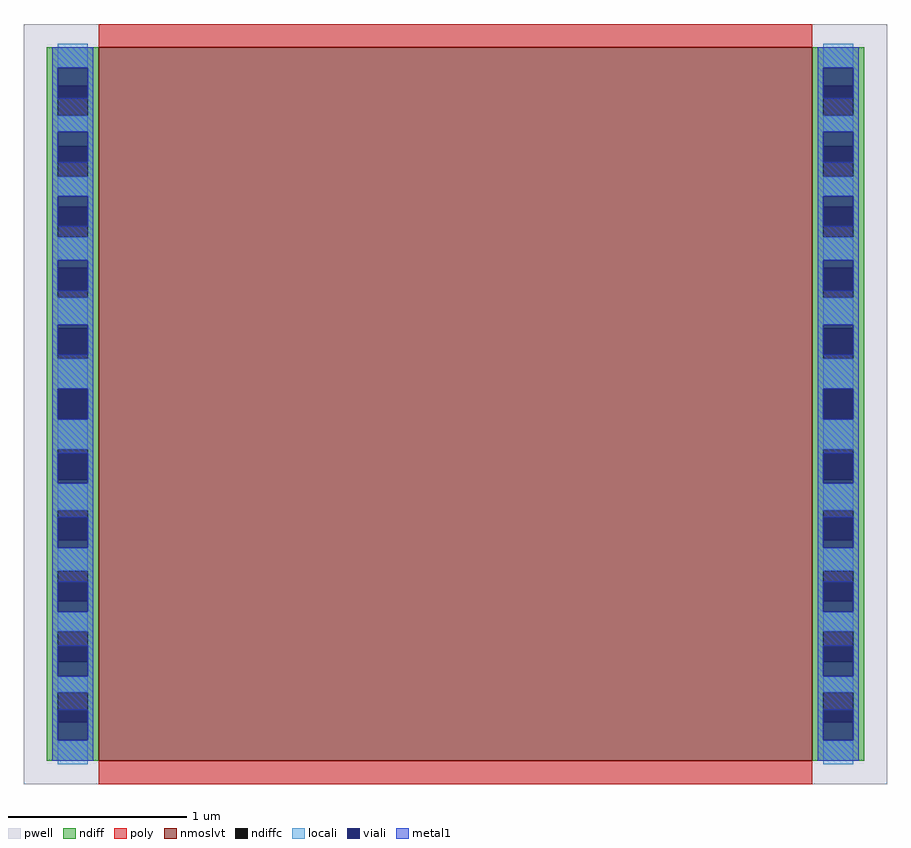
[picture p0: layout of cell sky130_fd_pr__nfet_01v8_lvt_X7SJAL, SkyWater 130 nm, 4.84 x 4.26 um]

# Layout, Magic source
magic
tech sky130A
magscale 1 2
<< pwell >>
rect -484 -426 484 426
<< nmoslvt >>
rect -400 -400 400 400
<< ndiff >>
rect -458 357 -400 400
rect -458 323 -446 357
rect -412 323 -400 357
rect -458 289 -400 323
rect -458 255 -446 289
rect -412 255 -400 289
rect -458 221 -400 255
rect -458 187 -446 221
rect -412 187 -400 221
rect -458 153 -400 187
rect -458 119 -446 153
rect -412 119 -400 153
rect -458 85 -400 119
rect -458 51 -446 85
rect -412 51 -400 85
rect -458 17 -400 51
rect -458 -17 -446 17
rect -412 -17 -400 17
rect -458 -51 -400 -17
rect -458 -85 -446 -51
rect -412 -85 -400 -51
rect -458 -119 -400 -85
rect -458 -153 -446 -119
rect -412 -153 -400 -119
rect -458 -187 -400 -153
rect -458 -221 -446 -187
rect -412 -221 -400 -187
rect -458 -255 -400 -221
rect -458 -289 -446 -255
rect -412 -289 -400 -255
rect -458 -323 -400 -289
rect -458 -357 -446 -323
rect -412 -357 -400 -323
rect -458 -400 -400 -357
rect 400 357 458 400
rect 400 323 412 357
rect 446 323 458 357
rect 400 289 458 323
rect 400 255 412 289
rect 446 255 458 289
rect 400 221 458 255
rect 400 187 412 221
rect 446 187 458 221
rect 400 153 458 187
rect 400 119 412 153
rect 446 119 458 153
rect 400 85 458 119
rect 400 51 412 85
rect 446 51 458 85
rect 400 17 458 51
rect 400 -17 412 17
rect 446 -17 458 17
rect 400 -51 458 -17
rect 400 -85 412 -51
rect 446 -85 458 -51
rect 400 -119 458 -85
rect 400 -153 412 -119
rect 446 -153 458 -119
rect 400 -187 458 -153
rect 400 -221 412 -187
rect 446 -221 458 -187
rect 400 -255 458 -221
rect 400 -289 412 -255
rect 446 -289 458 -255
rect 400 -323 458 -289
rect 400 -357 412 -323
rect 446 -357 458 -323
rect 400 -400 458 -357
<< ndiffc >>
rect -446 323 -412 357
rect -446 255 -412 289
rect -446 187 -412 221
rect -446 119 -412 153
rect -446 51 -412 85
rect -446 -17 -412 17
rect -446 -85 -412 -51
rect -446 -153 -412 -119
rect -446 -221 -412 -187
rect -446 -289 -412 -255
rect -446 -357 -412 -323
rect 412 323 446 357
rect 412 255 446 289
rect 412 187 446 221
rect 412 119 446 153
rect 412 51 446 85
rect 412 -17 446 17
rect 412 -85 446 -51
rect 412 -153 446 -119
rect 412 -221 446 -187
rect 412 -289 446 -255
rect 412 -357 446 -323
<< poly >>
rect -400 400 400 426
rect -400 -426 400 -400
<< locali >>
rect -446 377 -412 404
rect -446 305 -412 323
rect -446 233 -412 255
rect -446 161 -412 187
rect -446 89 -412 119
rect -446 17 -412 51
rect -446 -51 -412 -17
rect -446 -119 -412 -89
rect -446 -187 -412 -161
rect -446 -255 -412 -233
rect -446 -323 -412 -305
rect -446 -404 -412 -377
rect 412 377 446 404
rect 412 305 446 323
rect 412 233 446 255
rect 412 161 446 187
rect 412 89 446 119
rect 412 17 446 51
rect 412 -51 446 -17
rect 412 -119 446 -89
rect 412 -187 446 -161
rect 412 -255 446 -233
rect 412 -323 446 -305
rect 412 -404 446 -377
<< viali >>
rect -446 357 -412 377
rect -446 343 -412 357
rect -446 289 -412 305
rect -446 271 -412 289
rect -446 221 -412 233
rect -446 199 -412 221
rect -446 153 -412 161
rect -446 127 -412 153
rect -446 85 -412 89
rect -446 55 -412 85
rect -446 -17 -412 17
rect -446 -85 -412 -55
rect -446 -89 -412 -85
rect -446 -153 -412 -127
rect -446 -161 -412 -153
rect -446 -221 -412 -199
rect -446 -233 -412 -221
rect -446 -289 -412 -271
rect -446 -305 -412 -289
rect -446 -357 -412 -343
rect -446 -377 -412 -357
rect 412 357 446 377
rect 412 343 446 357
rect 412 289 446 305
rect 412 271 446 289
rect 412 221 446 233
rect 412 199 446 221
rect 412 153 446 161
rect 412 127 446 153
rect 412 85 446 89
rect 412 55 446 85
rect 412 -17 446 17
rect 412 -85 446 -55
rect 412 -89 446 -85
rect 412 -153 446 -127
rect 412 -161 446 -153
rect 412 -221 446 -199
rect 412 -233 446 -221
rect 412 -289 446 -271
rect 412 -305 446 -289
rect 412 -357 446 -343
rect 412 -377 446 -357
<< metal1 >>
rect -452 377 -406 400
rect -452 343 -446 377
rect -412 343 -406 377
rect -452 305 -406 343
rect -452 271 -446 305
rect -412 271 -406 305
rect -452 233 -406 271
rect -452 199 -446 233
rect -412 199 -406 233
rect -452 161 -406 199
rect -452 127 -446 161
rect -412 127 -406 161
rect -452 89 -406 127
rect -452 55 -446 89
rect -412 55 -406 89
rect -452 17 -406 55
rect -452 -17 -446 17
rect -412 -17 -406 17
rect -452 -55 -406 -17
rect -452 -89 -446 -55
rect -412 -89 -406 -55
rect -452 -127 -406 -89
rect -452 -161 -446 -127
rect -412 -161 -406 -127
rect -452 -199 -406 -161
rect -452 -233 -446 -199
rect -412 -233 -406 -199
rect -452 -271 -406 -233
rect -452 -305 -446 -271
rect -412 -305 -406 -271
rect -452 -343 -406 -305
rect -452 -377 -446 -343
rect -412 -377 -406 -343
rect -452 -400 -406 -377
rect 406 377 452 400
rect 406 343 412 377
rect 446 343 452 377
rect 406 305 452 343
rect 406 271 412 305
rect 446 271 452 305
rect 406 233 452 271
rect 406 199 412 233
rect 446 199 452 233
rect 406 161 452 199
rect 406 127 412 161
rect 446 127 452 161
rect 406 89 452 127
rect 406 55 412 89
rect 446 55 452 89
rect 406 17 452 55
rect 406 -17 412 17
rect 446 -17 452 17
rect 406 -55 452 -17
rect 406 -89 412 -55
rect 446 -89 452 -55
rect 406 -127 452 -89
rect 406 -161 412 -127
rect 446 -161 452 -127
rect 406 -199 452 -161
rect 406 -233 412 -199
rect 446 -233 452 -199
rect 406 -271 452 -233
rect 406 -305 412 -271
rect 446 -305 452 -271
rect 406 -343 452 -305
rect 406 -377 412 -343
rect 446 -377 452 -343
rect 406 -400 452 -377
<< end >>
